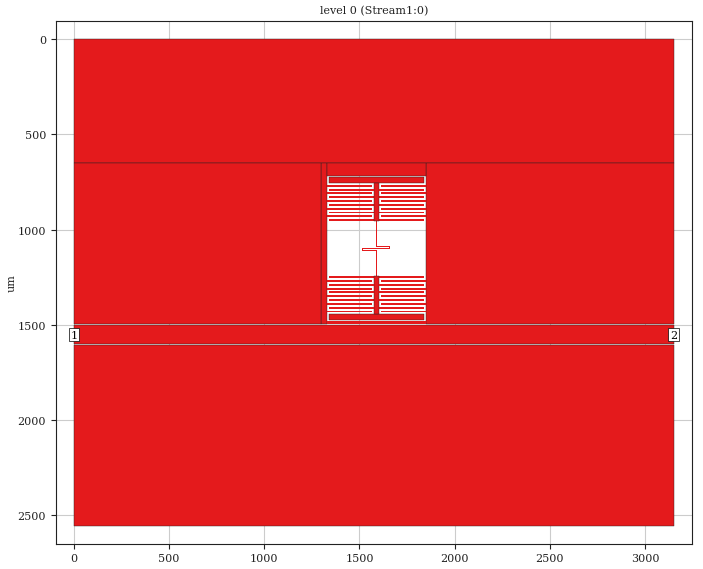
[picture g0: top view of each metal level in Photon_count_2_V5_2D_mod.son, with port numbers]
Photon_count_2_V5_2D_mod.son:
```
FTYP SONPROJ 19 ! Sonnet Project File
VER 18.56
HEADER
LIC infn2.1.84251
DAT 05/08/2026 14:47:00
BUILT_BY_CREATED gds 18.56 04/24/2026 15:22:28
BUILT_BY_SAVED sonnet 18.56
MDATE 05/08/2026 11:30:37
HDATE 05/08/2026 11:30:37
END HEADER
DIM
ANG DEG
CAP PF
CON /OH
FREQ GHZ
IND NH
LNG UM
RES OH
END DIM
CONTROL
VARSWP
OPTIONS  -d
SPEED 0
CACHE_ABS 2
Q_ACC Y
DET_ABS_RES Y
END CONTROL
GEO
TMET "Lossless" 0 SUP 0 0 0 0
BMET "Lossless" 0 SUP 0 0 0 0
MET "Unknown_metal" 1 SUP 0 0 0 "Lk"
BOX 1 3150 2555 2520 2044 20 0
      1000 1 1 0 0 0 0 "Vacuum"
      500 11.9 1 0.004 0 0.00044 0 "Silicon (intrinsic)"
TECHLAY METAL Stream1:0 <UNSPECIFIED> 1 0 
0 0 0 N 241 1 1 100 100 0 0 0 Y
END
END
VALVAR Lk NONE 0 ""
DIM STD YDIR 1
POS 53.52363729 8.530898235
NOM 5
REF1 POLY 181 1
2
REF2 POLY 59 1
2
END
DIM STD YDIR 1
POS -103.4039313 17.19977932
NOM 5
REF1 POLY 181 1
3
REF2 POLY 59 1
1
END
DIM STD YDIR 1
POS -1287.702903 1572.404531
NOM 2555
REF1 POLY 2 1
1
REF2 POLY 59 1
0
END
DIM STD YDIR -1
POS -98.85841338 23.88491202
NOM 5
REF1 POLY 181 1
0
REF2 POLY 51 1
0
END
DIM STD XDIR 1
POS 2155.982025 -512.6872951
NOM 3150
REF1 POLY 2 1
1
REF2 POLY 2 1
2
END
DIM STD YDIR 1
POS 54.81833377 17.79427308
NOM 5
REF1 POLY 3 1
3
REF2 POLY 181 1
1
END
LORGN 0 2555 U 
POR1 BOX
POLY 181 1
3
1 50 0 0 0 0 1551.25 
POR1 BOX
POLY 181 1
1
2 50 0 0 0 3150 1551.25 
NUM 60
0 5 0 N 2 1 1 100 100 0 0 0 Y
TLAYNAM Stream1:0 INH
0 650
0 0
3150 0
3150 650
0 650
END
0 5 0 N 3 1 1 100 100 0 0 0 Y
TLAYNAM Stream1:0 INH
1850 1495
1850 650
3150 650
3150 1495
1850 1495
END
0 5 0 N 5 1 1 100 100 0 0 0 Y
TLAYNAM Stream1:0 INH
1587.5 1092.5
1587.5 1087.5
1662.5 1087.5
1662.5 1092.5
1587.5 1092.5
END
0 5 0 N 6 1 1 100 100 0 0 0 Y
TLAYNAM Stream1:0 INH
1512.5 1107.5
1512.5 1102.5
1517.5 1102.5
1517.5 1107.5
1512.5 1107.5
END
0 5 0 N 7 1 1 100 100 0 0 0 Y
TLAYNAM Stream1:0 INH
1512.5 1112.5
1512.5 1107.5
1587.5 1107.5
1587.5 1112.5
1512.5 1112.5
END
0 5 0 N 8 1 1 100 100 0 0 0 Y
TLAYNAM Stream1:0 INH
1587.5 1087.5
1587.5 955
1592.5 955
1592.5 1087.5
1587.5 1087.5
END
0 5 0 N 9 1 1 100 100 0 0 0 Y
TLAYNAM Stream1:0 INH
1587.5 1245
1587.5 1107.5
1592.5 1107.5
1592.5 1245
1587.5 1245
END
0 5 0 N 10 1 1 100 100 0 0 0 Y
TLAYNAM Stream1:0 INH
1340 1375
1340 1365
1575 1365
1575 1375
1340 1375
END
0 5 0 N 11 1 1 100 100 0 0 0 Y
TLAYNAM Stream1:0 INH
1300 1495
1300 650
1330 650
1330 1495
1300 1495
END
0 5 0 N 12 1 1 100 100 0 0 0 Y
TLAYNAM Stream1:0 INH
1615 1395
1615 1385
1850 1385
1850 1395
1615 1395
END
0 5 0 N 13 1 1 100 100 0 0 0 Y
TLAYNAM Stream1:0 INH
1330 1395
1330 1385
1565 1385
1565 1395
1330 1395
END
0 5 0 N 14 1 1 100 100 0 0 0 Y
TLAYNAM Stream1:0 INH
1605 1415
1605 1405
1840 1405
1840 1415
1605 1415
END
0 5 0 N 15 1 1 100 100 0 0 0 Y
TLAYNAM Stream1:0 INH
1615 1435
1615 1425
1850 1425
1850 1435
1615 1435
END
0 5 0 N 16 1 1 100 100 0 0 0 Y
TLAYNAM Stream1:0 INH
1605 955
1605 945
1840 945
1840 955
1605 955
END
0 5 0 N 17 1 1 100 100 0 0 0 Y
TLAYNAM Stream1:0 INH
1340 955
1340 945
1575 945
1575 955
1340 955
END
0 5 0 N 18 1 1 100 100 0 0 0 Y
TLAYNAM Stream1:0 INH
1615 935
1615 925
1850 925
1850 935
1615 935
END
0 5 0 N 19 1 1 100 100 0 0 0 Y
TLAYNAM Stream1:0 INH
1330 935
1330 925
1565 925
1565 935
1330 935
END
0 5 0 N 20 1 1 100 100 0 0 0 Y
TLAYNAM Stream1:0 INH
1605 915
1605 905
1840 905
1840 915
1605 915
END
0 5 0 N 21 1 1 100 100 0 0 0 Y
TLAYNAM Stream1:0 INH
1340 915
1340 905
1575 905
1575 915
1340 915
END
0 5 0 N 22 1 1 100 100 0 0 0 Y
TLAYNAM Stream1:0 INH
1615 895
1615 885
1850 885
1850 895
1615 895
END
0 5 0 N 23 1 1 100 100 0 0 0 Y
TLAYNAM Stream1:0 INH
1330 895
1330 885
1565 885
1565 895
1330 895
END
0 5 0 N 24 1 1 100 100 0 0 0 Y
TLAYNAM Stream1:0 INH
1605 875
1605 865
1840 865
1840 875
1605 875
END
0 5 0 N 25 1 1 100 100 0 0 0 Y
TLAYNAM Stream1:0 INH
1340 875
1340 865
1575 865
1575 875
1340 875
END
0 5 0 N 26 1 1 100 100 0 0 0 Y
TLAYNAM Stream1:0 INH
1615 855
1615 845
1850 845
1850 855
1615 855
END
0 5 0 N 27 1 1 100 100 0 0 0 Y
TLAYNAM Stream1:0 INH
1330 855
1330 845
1565 845
1565 855
1330 855
END
0 5 0 N 28 1 1 100 100 0 0 0 Y
TLAYNAM Stream1:0 INH
1605 835
1605 825
1840 825
1840 835
1605 835
END
0 5 0 N 29 1 1 100 100 0 0 0 Y
TLAYNAM Stream1:0 INH
1340 835
1340 825
1575 825
1575 835
1340 835
END
0 5 0 N 30 1 1 100 100 0 0 0 Y
TLAYNAM Stream1:0 INH
1615 815
1615 805
1850 805
1850 815
1615 815
END
0 5 0 N 31 1 1 100 100 0 0 0 Y
TLAYNAM Stream1:0 INH
1330 815
1330 805
1565 805
1565 815
1330 815
END
0 5 0 N 32 1 1 100 100 0 0 0 Y
TLAYNAM Stream1:0 INH
1605 1255
1605 1245
1840 1245
1840 1255
1605 1255
END
0 5 0 N 33 1 1 100 100 0 0 0 Y
TLAYNAM Stream1:0 INH
1340 1255
1340 1245
1575 1245
1575 1255
1340 1255
END
0 5 0 N 34 1 1 100 100 0 0 0 Y
TLAYNAM Stream1:0 INH
1615 1275
1615 1265
1850 1265
1850 1275
1615 1275
END
0 5 0 N 35 1 1 100 100 0 0 0 Y
TLAYNAM Stream1:0 INH
1330 1275
1330 1265
1565 1265
1565 1275
1330 1275
END
0 5 0 N 36 1 1 100 100 0 0 0 Y
TLAYNAM Stream1:0 INH
1330 720
1330 650
1850 650
1850 720
1330 720
END
0 5 0 N 37 1 1 100 100 0 0 0 Y
TLAYNAM Stream1:0 INH
1340 755
1340 725
1840 725
1840 755
1340 755
END
0 5 0 N 38 1 1 100 100 0 0 0 Y
TLAYNAM Stream1:0 INH
1575 955
1575 755
1605 755
1605 955
1575 955
END
0 5 0 N 39 1 1 100 100 0 0 0 Y
TLAYNAM Stream1:0 INH
1330 775
1330 765
1565 765
1565 775
1330 775
END
0 5 0 N 40 1 1 100 100 0 0 0 Y
TLAYNAM Stream1:0 INH
1340 795
1340 785
1575 785
1575 795
1340 795
END
0 5 0 N 41 1 1 100 100 0 0 0 Y
TLAYNAM Stream1:0 INH
1615 775
1615 765
1850 765
1850 775
1615 775
END
0 5 0 N 42 1 1 100 100 0 0 0 Y
TLAYNAM Stream1:0 INH
1605 795
1605 785
1840 785
1840 795
1605 795
END
0 5 0 N 43 1 1 100 100 0 0 0 Y
TLAYNAM Stream1:0 INH
1340 1475
1340 1445
1840 1445
1840 1475
1340 1475
END
0 5 0 N 44 1 1 100 100 0 0 0 Y
TLAYNAM Stream1:0 INH
1575 1445
1575 1245
1605 1245
1605 1445
1575 1445
END
0 5 0 N 45 1 1 100 100 0 0 0 Y
TLAYNAM Stream1:0 INH
1330 1435
1330 1425
1565 1425
1565 1435
1330 1435
END
0 5 0 N 46 1 1 100 100 0 0 0 Y
TLAYNAM Stream1:0 INH
1340 1415
1340 1405
1575 1405
1575 1415
1340 1415
END
0 5 0 N 47 1 1 100 100 0 0 0 Y
TLAYNAM Stream1:0 INH
1605 1295
1605 1285
1840 1285
1840 1295
1605 1295
END
0 5 0 N 48 1 1 100 100 0 0 0 Y
TLAYNAM Stream1:0 INH
1340 1295
1340 1285
1575 1285
1575 1295
1340 1295
END
0 5 0 N 49 1 1 100 100 0 0 0 Y
TLAYNAM Stream1:0 INH
1615 1315
1615 1305
1850 1305
1850 1315
1615 1315
END
0 5 0 N 50 1 1 100 100 0 0 0 Y
TLAYNAM Stream1:0 INH
1330 1315
1330 1305
1565 1305
1565 1315
1330 1315
END
0 5 0 N 51 1 1 100 100 0 0 0 Y
TLAYNAM Stream1:0 INH
0 1495
0 650
1300 650
1300 1495
0 1495
END
0 5 0 N 52 1 1 100 100 0 0 0 Y
TLAYNAM Stream1:0 INH
1605 1335
1605 1325
1840 1325
1840 1335
1605 1335
END
0 5 0 N 53 1 1 100 100 0 0 0 Y
TLAYNAM Stream1:0 INH
1340 1335
1340 1325
1575 1325
1575 1335
1340 1335
END
0 5 0 N 54 1 1 100 100 0 0 0 Y
TLAYNAM Stream1:0 INH
1615 1355
1615 1345
1850 1345
1850 1355
1615 1355
END
0 5 0 N 55 1 1 100 100 0 0 0 Y
TLAYNAM Stream1:0 INH
1330 1355
1330 1345
1565 1345
1565 1355
1330 1355
END
0 5 0 N 56 1 1 100 100 0 0 0 Y
TLAYNAM Stream1:0 INH
1330 1495
1330 1480
1850 1480
1850 1495
1330 1495
END
0 5 0 N 58 1 1 100 100 0 0 0 Y
TLAYNAM Stream1:0 INH
1605 1375
1605 1365
1840 1365
1840 1375
1605 1375
END
0 5 0 N 59 1 1 100 100 0 0 0 Y
TLAYNAM Stream1:0 INH
0 2555
0 1607.5
3150 1607.5
3150 2555
0 2555
END
0 5 0 N 181 1 1 100 100 0 0 0 Y
TLAYNAM Stream1:0 INH
0 1500
3150 1500
3150 1602.5
0 1602.5
0 1500
END
0 5 0 N 229 1 1 100 100 0 0 0 Y
TLAYNAM Stream1:0 INH
1657.5 1097.5
1657.5 1092.5
1662.5 1092.5
1662.5 1097.5
1657.5 1097.5
END
0 5 0 N 230 1 1 100 100 0 0 0 Y
TLAYNAM Stream1:0 INH
1662.5 1097.5
1590 1097.5
1590 1102.5
1662.5 1102.5
1662.5 1097.5
END
0 5 0 N 231 1 1 100 100 0 0 0 Y
TLAYNAM Stream1:0 INH
1590 1097.5
1512.5 1097.5
1512.5 1102.5
1590 1102.5
1590 1097.5
END
END GEO
OPT
MAX 100
END OPT
VARSWP
SWPVARS ON
ENABLED Y
FREQ Y AY ABS_ENTRY 12.0 16.0 -1 2000 
VAR Lk N 14.0 18.0 9
END
END VARSWP
```
